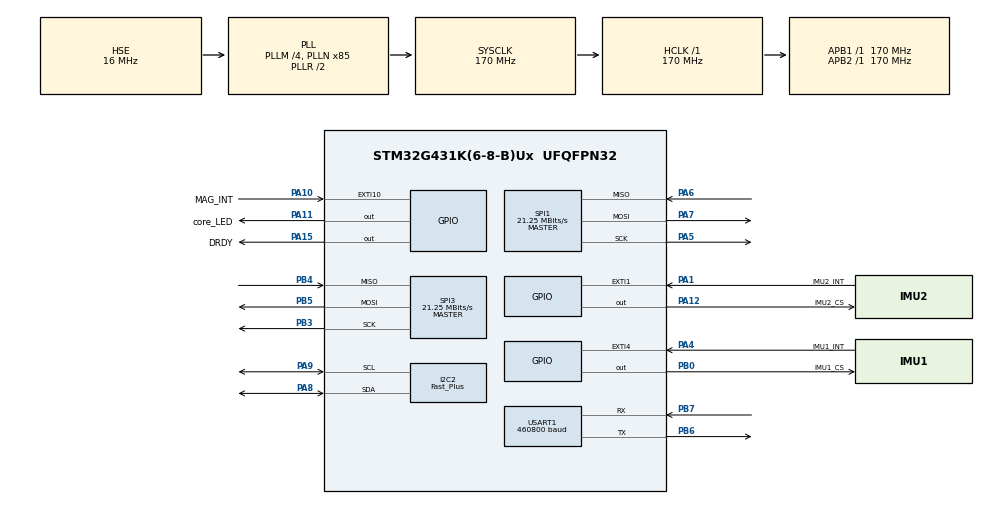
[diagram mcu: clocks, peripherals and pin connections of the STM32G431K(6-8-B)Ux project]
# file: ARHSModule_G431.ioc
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Dma.Request0=USART1_RX
Dma.Request1=USART1_TX
Dma.USART1_RX.0.Direction=DMA_PERIPH_TO_MEMORY
Dma.USART1_RX.0.EventEnable=DISABLE
Dma.USART1_RX.0.Instance=DMA1_Channel1
Dma.USART1_RX.0.MemDataAlignment=DMA_MDATAALIGN_BYTE
Dma.USART1_RX.0.MemInc=DMA_MINC_ENABLE
Dma.USART1_RX.0.Mode=DMA_NORMAL
Dma.USART1_RX.0.PeriphDataAlignment=DMA_PDATAALIGN_BYTE
Dma.USART1_RX.0.PeriphInc=DMA_PINC_DISABLE
Dma.USART1_RX.0.Polarity=HAL_DMAMUX_REQ_GEN_RISING
Dma.USART1_RX.0.Priority=DMA_PRIORITY_LOW
Dma.USART1_RX.0.RequestNumber=1
Dma.USART1_RX.0.SignalID=NONE
Dma.USART1_RX.0.SyncEnable=DISABLE
Dma.USART1_RX.0.SyncPolarity=HAL_DMAMUX_SYNC_NO_EVENT
Dma.USART1_RX.0.SyncRequestNumber=1
Dma.USART1_RX.0.SyncSignalID=NONE
Dma.USART1_TX.1.Direction=DMA_MEMORY_TO_PERIPH
Dma.USART1_TX.1.EventEnable=DISABLE
Dma.USART1_TX.1.Instance=DMA1_Channel2
Dma.USART1_TX.1.MemDataAlignment=DMA_MDATAALIGN_BYTE
Dma.USART1_TX.1.MemInc=DMA_MINC_ENABLE
Dma.USART1_TX.1.Mode=DMA_NORMAL
Dma.USART1_TX.1.PeriphDataAlignment=DMA_PDATAALIGN_BYTE
Dma.USART1_TX.1.PeriphInc=DMA_PINC_DISABLE
Dma.USART1_TX.1.Polarity=HAL_DMAMUX_REQ_GEN_RISING
Dma.USART1_TX.1.Priority=DMA_PRIORITY_HIGH
Dma.USART1_TX.1.RequestNumber=1
Dma.USART1_TX.1.SignalID=NONE
Dma.USART1_TX.1.SyncEnable=DISABLE
Dma.USART1_TX.1.SyncPolarity=HAL_DMAMUX_SYNC_NO_EVENT
Dma.USART1_TX.1.SyncRequestNumber=1
Dma.USART1_TX.1.SyncSignalID=NONE
I2C2.Analog_Filter=I2C_ANALOGFILTER_DISABLE
I2C2.I2C_Speed_Mode=I2C_Fast_Plus
I2C2.Timing=0x10C3162A
Mcu.Family=STM32G4
Mcu.Name=STM32G431K(6-8-B)Ux
Mcu.Package=UFQFPN32
NVIC.DMA1_Channel1_IRQn=true\:5\:0\:true\:false\:true\:false\:true\:true
NVIC.DMA1_Channel2_IRQn=true\:5\:1\:true\:false\:true\:false\:true\:true
NVIC.EXTI4_IRQn=true\:1\:0\:true\:false\:true\:true\:true\:true
NVIC.PriorityGroup=NVIC_PRIORITYGROUP_3
NVIC.TIM1_UP_TIM16_IRQn=true\:0\:0\:false\:false\:true\:true\:true\:true
NVIC.USART1_IRQn=true\:5\:1\:true\:false\:true\:false\:true\:true
PA1.GPIO_Label=IMU2_INT
PA1.GPIO_PuPd=GPIO_PULLDOWN
PA1.Signal=GPXTI1
PA10.GPIO_Label=MAG_INT
PA10.GPIO_PuPd=GPIO_NOPULL
PA10.Signal=GPXTI10
PA11.GPIO_Label=core_LED
PA11.GPIO_PuPd=GPIO_PULLDOWN
PA11.Signal=GPIO_Output
PA12.GPIO_Label=IMU2_CS
PA12.GPIO_PuPd=GPIO_NOPULL
PA12.PinState=GPIO_PIN_RESET
PA12.Signal=GPIO_Output
PA13.Mode=Serial_Wire
PA13.Signal=SYS_JTMS-SWDIO
PA14.Mode=Serial_Wire
PA14.Signal=SYS_JTCK-SWCLK
PA15.GPIO_Label=DRDY
PA15.GPIO_PuPd=GPIO_PULLDOWN
PA15.GPIO_Speed=GPIO_SPEED_FREQ_HIGH
PA15.Signal=GPIO_Output
PA4.GPIO_Label=IMU1_INT
PA4.GPIO_PuPd=GPIO_PULLDOWN
PA4.Signal=GPXTI4
PA5.GPIO_Speed=GPIO_SPEED_FREQ_LOW
PA5.Mode=Full_Duplex_Master
PA5.Signal=SPI1_SCK
PA6.GPIO_Speed=GPIO_SPEED_FREQ_LOW
PA6.Mode=Full_Duplex_Master
PA6.Signal=SPI1_MISO
PA7.GPIO_Speed=GPIO_SPEED_FREQ_LOW
PA7.Mode=Full_Duplex_Master
PA7.Signal=SPI1_MOSI
PA8.GPIO_Pu=GPIO_PULLUP
PA8.GPIO_Speed=GPIO_SPEED_FREQ_VERY_HIGH
PA8.Mode=I2C
PA8.Signal=I2C2_SDA
PA9.GPIO_Pu=GPIO_PULLUP
PA9.GPIO_Speed=GPIO_SPEED_FREQ_VERY_HIGH
PA9.Mode=I2C
PA9.Signal=I2C2_SCL
PB0.GPIO_Label=IMU1_CS
PB0.GPIO_PuPd=GPIO_NOPULL
PB0.PinState=GPIO_PIN_RESET
PB0.Signal=GPIO_Output
PB3.GPIO_Speed=GPIO_SPEED_FREQ_VERY_HIGH
PB3.Mode=Full_Duplex_Master
PB3.Signal=SPI3_SCK
PB4.GPIO_Speed=GPIO_SPEED_FREQ_VERY_HIGH
PB4.Mode=Full_Duplex_Master
PB4.Signal=SPI3_MISO
PB5.GPIO_Speed=GPIO_SPEED_FREQ_VERY_HIGH
PB5.Mode=Full_Duplex_Master
PB5.Signal=SPI3_MOSI
PB6.GPIO_Speed=GPIO_SPEED_FREQ_VERY_HIGH
PB6.Mode=Asynchronous
PB6.Signal=USART1_TX
PB7.GPIO_Speed=GPIO_SPEED_FREQ_VERY_HIGH
PB7.Mode=Asynchronous
PB7.Signal=USART1_RX
PF0-OSC_IN.Mode=HSE-External-Oscillator
PF0-OSC_IN.Signal=RCC_OSC_IN
PF1-OSC_OUT.Mode=HSE-External-Oscillator
PF1-OSC_OUT.Signal=RCC_OSC_OUT
ProjectManager.HeapSize=0x2000
ProjectManager.StackSize=0x4000
ProjectManager.TargetToolchain=MDK-ARM V5.32
RCC.ADC12Freq_Value=170000000
RCC.AHBFreq_Value=170000000
RCC.APB1Freq_Value=170000000
RCC.APB1TimFreq_Value=170000000
RCC.APB2Freq_Value=170000000
RCC.APB2TimFreq_Value=170000000
RCC.CortexFreq_Value=170000000
RCC.EXTERNAL_CLOCK_VALUE=12288000
RCC.HCLKFreq_Value=170000000
RCC.HSE_VALUE=16000000
RCC.HSI48_VALUE=48000000
RCC.HSI_VALUE=16000000
RCC.LSE_VALUE=32768
RCC.PLLM=RCC_PLLM_DIV4
RCC.PLLN=85
RCC.PLLSourceVirtual=RCC_PLLSOURCE_HSE
RCC.SYSCLKFreq_VALUE=170000000
RCC.SYSCLKSource=RCC_SYSCLKSOURCE_PLLCLK
RCC.USBFreq_Value=170000000
RCC.VCOOutputFreq_Value=340000000
SPI1.BaudRatePrescaler=SPI_BAUDRATEPRESCALER_8
SPI1.CalculateBaudRate=21.25 MBits/s
SPI1.DataSize=SPI_DATASIZE_8BIT
SPI1.Direction=SPI_DIRECTION_2LINES
SPI1.Mode=SPI_MODE_MASTER
SPI1.NSSPMode=SPI_NSS_PULSE_DISABLE
SPI1.VirtualType=VM_MASTER
SPI3.BaudRatePrescaler=SPI_BAUDRATEPRESCALER_8
SPI3.CalculateBaudRate=21.25 MBits/s
SPI3.DataSize=SPI_DATASIZE_8BIT
SPI3.Direction=SPI_DIRECTION_2LINES
SPI3.Mode=SPI_MODE_MASTER
SPI3.NSSPMode=SPI_NSS_PULSE_DISABLE
SPI3.VirtualType=VM_MASTER
TIM1.PeriodNoDither=1000-1
TIM1.Prescaler=170-1
USART1.BaudRate=460800
USART1.VirtualMode-Asynchronous=VM_ASYNC
VP_SYS_VS_DBSignals.Mode=DisableDeadBatterySignals
VP_TIM1_VS_ClockSourceINT.Mode=Internal
board=custom

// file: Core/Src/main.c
/* USER CODE BEGIN Header */
/**
  ******************************************************************************
  * @file           : main.c
  * @brief          : Main program body
  ******************************************************************************
  * @attention
  *
  * Copyright (c) 2025 STMicroelectronics.
  * All rights reserved.
  *
  * This software is licensed under terms that can be found in the LICENSE file
  * in the root directory of this software component.
  * If no LICENSE file comes with this software, it is provided AS-IS.
  *
  ******************************************************************************
  */
/* USER CODE END Header */
#include "main.h"
#include "dma.h"
#include "i2c.h"
#include "spi.h"
#include "tim.h"
#include "usart.h"
#include "gpio.h"

/* USER CODE BEGIN Includes */
#include "delay.h"
#include "icm45686_task.h"
#include "bmm350_task.h"
#include "angle.h"
#include "stmflash.h"
/* USER CODE END Includes */

void SystemClock_Config(void);

/* USER CODE BEGIN 0 */
void flash_param_read()
{
  stmflash_read(FLASH_ADDR_BASE,(uint64_t *)&flash_data_store,1);//读取FLASH
	if(flash_data_store == 0xFFFFFFFF)
	{
		flash_data_store = 0;
		stmflash_write(FLASH_ADDR_BASE,(uint64_t*)&flash_data_store,1);//写入FLASH初始化
	}
  my_at_cmd.uart_print_mode = (flash_data_store & 0x0000000F);//数据打印模式
  my_at_cmd.mmu_mode = (flash_data_store & 0x00000010)>>4;//磁力计模式
  my_at_cmd.int_pin_mode = (flash_data_store & 0x00000020)>>5;//中断引脚模式

}
/* USER CODE END 0 */

int main(void)
{

  /* MCU Configuration--------------------------------------------------------*/

  /* Reset of all peripherals, Initializes the Flash interface and the Systick. */
  HAL_Init();

  /* Configure the system clock */
  SystemClock_Config();

  /* USER CODE BEGIN SysInit */
	delay_init(170);//基于内核时钟频率延时初始化
  /* USER CODE END SysInit */

  /* Initialize all configured peripherals */
  MX_GPIO_Init();
  MX_DMA_Init();
  MX_SPI1_Init();
  MX_SPI3_Init();
  MX_USART1_UART_Init();
  MX_TIM1_Init();
  MX_I2C2_Init();
  /* USER CODE BEGIN 2 */
	LED(1);//点亮LED
  flash_param_read();//读取AT指令模式
	HAL_UARTEx_ReceiveToIdle_DMA(&huart1,USART1_RX_BUF,sizeof(USART1_RX_BUF));
	if(imu_init(&myIMU1) == INV_IMU_OK &&imu_init(&myIMU2) == INV_IMU_OK)
	{
		IMU_Calibration();//IMU静止状态下零漂矫正
		myIMU1.is_init_ok =1;
		myIMU2.is_init_ok =1;

	}
	else//错误 led闪烁20Hz
	{
		while(1)
		{
			LED_TOGGLE;
			delay_ms(50);
		}
	}
#ifdef USE_MMU
  if(my_at_cmd.mmu_mode)
  {
    if(mmu_init()==0)
    {

    }
    else
    {
      while(1)//错误 led闪烁20Hz
      {
        LED_TOGGLE;
        delay_ms(50);
      }
    }
  }

#endif

	HAL_TIM_Base_Start_IT(&htim1);

  /* USER CODE END 2 */

  /* Infinite loop */
  /* USER CODE BEGIN WHILE */
  while (1)
  {
#ifdef USE_MMU
    /***使用磁力计***/
    if(my_at_cmd.mmu_mode)
    {
		  mmu_angle_update();//磁力计数据更新
    }
#endif
    /* USER CODE END WHILE */

  }
}

void SystemClock_Config(void)
{
  RCC_OscInitTypeDef RCC_OscInitStruct = {0};
  RCC_ClkInitTypeDef RCC_ClkInitStruct = {0};

  /** Configure the main internal regulator output voltage
  */
  HAL_PWREx_ControlVoltageScaling(PWR_REGULATOR_VOLTAGE_SCALE1_BOOST);

  /** Initializes the RCC Oscillators according to the specified parameters
  * in the RCC_OscInitTypeDef structure.
  */
  RCC_OscInitStruct.OscillatorType = RCC_OSCILLATORTYPE_HSE;
  RCC_OscInitStruct.HSEState = RCC_HSE_ON;
  RCC_OscInitStruct.PLL.PLLState = RCC_PLL_ON;
  RCC_OscInitStruct.PLL.PLLSource = RCC_PLLSOURCE_HSE;
  RCC_OscInitStruct.PLL.PLLM = RCC_PLLM_DIV4;
  RCC_OscInitStruct.PLL.PLLN = 85;
  RCC_OscInitStruct.PLL.PLLP = RCC_PLLP_DIV2;
  RCC_OscInitStruct.PLL.PLLQ = RCC_PLLQ_DIV2;
  RCC_OscInitStruct.PLL.PLLR = RCC_PLLR_DIV2;
  if (HAL_RCC_OscConfig(&RCC_OscInitStruct) != HAL_OK)
  {
    Error_Handler();
  }

  /** Initializes the CPU, AHB and APB buses clocks
  */
  RCC_ClkInitStruct.ClockType = RCC_CLOCKTYPE_HCLK|RCC_CLOCKTYPE_SYSCLK
                              |RCC_CLOCKTYPE_PCLK1|RCC_CLOCKTYPE_PCLK2;
  RCC_ClkInitStruct.SYSCLKSource = RCC_SYSCLKSOURCE_PLLCLK;
  RCC_ClkInitStruct.AHBCLKDivider = RCC_SYSCLK_DIV1;
  RCC_ClkInitStruct.APB1CLKDivider = RCC_HCLK_DIV1;
  RCC_ClkInitStruct.APB2CLKDivider = RCC_HCLK_DIV1;

  if (HAL_RCC_ClockConfig(&RCC_ClkInitStruct, FLASH_LATENCY_4) != HAL_OK)
  {
    Error_Handler();
  }
}

void Error_Handler(void)
{
  __disable_irq();
  while (1)
  {
  }
}
